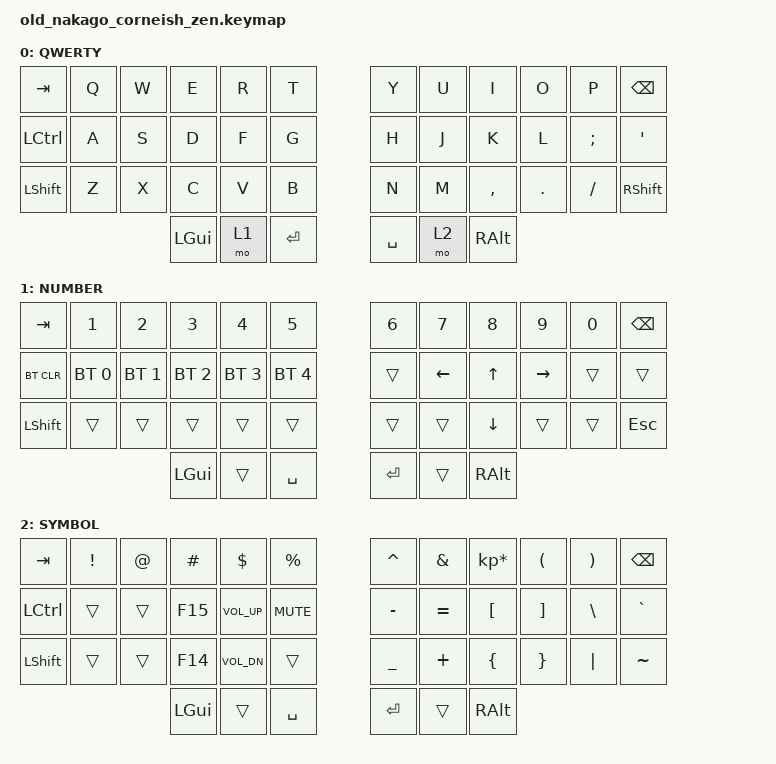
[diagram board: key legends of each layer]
#include <behaviors.dtsi>
#include <dt-bindings/zmk/keys.h>
#include <dt-bindings/zmk/bt.h>

// Moved Esc to Numbers Layer. Added Right Shift in place of Esc on main layer.
// Changed right long thumb to Space. Enter now accessible on right thumb of other layers. May move to left long thumb.
// Moved arrow keys on NUMBER layer to follow typical T but it is inverted 


/ {
  chosen {
    zmk,matrix_transform = &default_transform;
    //zmk,matrix_transform = &five_column_transform;
  };
};

/ {
        keymap {
                compatible = "zmk,keymap";

                default_layer {
                        label = "QWERTY";
// -----------------------------------------------------------------------------------------
// |  TAB |  Q  |  W  |  E  |  R  |  T  |   |  Y  |  U   |  I  |  O  |  P  | BKSP |
// | CTRL |  A  |  S  |  D  |  F  |  G  |   |  H  |  J   |  K  |  L  |  ;  |  '   |
// | SHFT |  Z  |  X  |  C  |  V  |  B  |   |  N  |  M   |  ,  |  .  |  /  | SHFT |
//                    | GUI | LWR | ENT |   | SPC | RSE  | ALT |
                        bindings = <
   &kp TAB   &kp Q &kp W &kp E &kp R &kp T   &kp Y &kp U  &kp I     &kp O   &kp P    &kp BSPC
   &kp LCTRL &kp A &kp S &kp D &kp F &kp G   &kp H &kp J  &kp K     &kp L   &kp SEMI &kp SQT
   &kp LSHFT &kp Z &kp X &kp C &kp V &kp B   &kp N &kp M  &kp COMMA &kp DOT &kp FSLH &kp RSHFT
                  &kp LGUI &mo 1 &kp RET     &kp SPACE &mo 2 &kp RALT
                        >;
                };
                lower_layer {
                        label = "NUMBER";
// -----------------------------------------------------------------------------------------
// |  TAB |  1  |  2  |  3  |  4  |  5  |   |  6  |  7  |  8  |  9  |  0  | BKSP |
// | BTCLR| BT1 | BT2 | BT3 | BT4 | BT5 |   |     | LFT |  UP | RGT |     |      |
// | SHFT |     |     |     |     |     |   |     |     | DWN |     |     | ESC  |
//                    | GUI |     | SPC |   | ENT |     | ALT |
                        bindings = <
   &kp TAB    &kp N1       &kp N2       &kp N3       &kp N4       &kp N5         &kp N6   &kp N7   &kp N8 &kp N9    &kp N0 &kp BSPC
   &bt BT_CLR &bt BT_SEL 0 &bt BT_SEL 1 &bt BT_SEL 2 &bt BT_SEL 3 &bt BT_SEL 4   &trans   &kp LEFT &kp UP &kp RIGHT &trans &trans
   &kp LSHFT  &trans       &trans       &trans       &trans       &trans         &trans   &trans   &kp DOWN &trans    &trans &kp ESC
                          	        &kp LGUI     &trans       &kp SPACE      &kp RET  &trans   &kp RALT
                        >;
                };

                raise_layer {
                        label = "SYMBOL";
// -----------------------------------------------------------------------------------------
// |  TAB |  !  |  @  |  #  |  $  |  %  |   |  ^  |  &  |  *  |  (  |  )  | BKSP |
// | CTRL |     |     | F15 |VOLUP| MUTE|   |  -  |  =  |  [  |  ]  |  \  |  `   |
// | SHFT |     |     | F14 |VOLDN|     |   |  _  |  +  |  {  |  }  | "|" |  ~   |
//                    | GUI |     | SPC |   | ENT |     | ALT |
                        bindings = <
   &kp  TAB  &kp EXCL &kp AT &kp HASH &kp DLLR &kp PRCNT   	&kp CARET &kp AMPS  &kp KP_MULTIPLY &kp LPAR &kp RPAR &kp BSPC
   &kp LCTRL &trans   &trans &kp F15 &kp C_VOL_UP &kp C_MUTE  	&kp MINUS &kp EQUAL &kp LBKT        &kp RBKT &kp BSLH &kp GRAVE
   &kp LSHFT &trans   &trans &kp F14 &kp C_VOL_DN &trans      	&kp UNDER &kp PLUS  &kp LBRC        &kp RBRC &kp PIPE &kp TILDE
                    	     &kp LGUI &trans   &kp SPACE   	&kp RET   &trans    &kp RALT
                        >;
                };
        };
};
